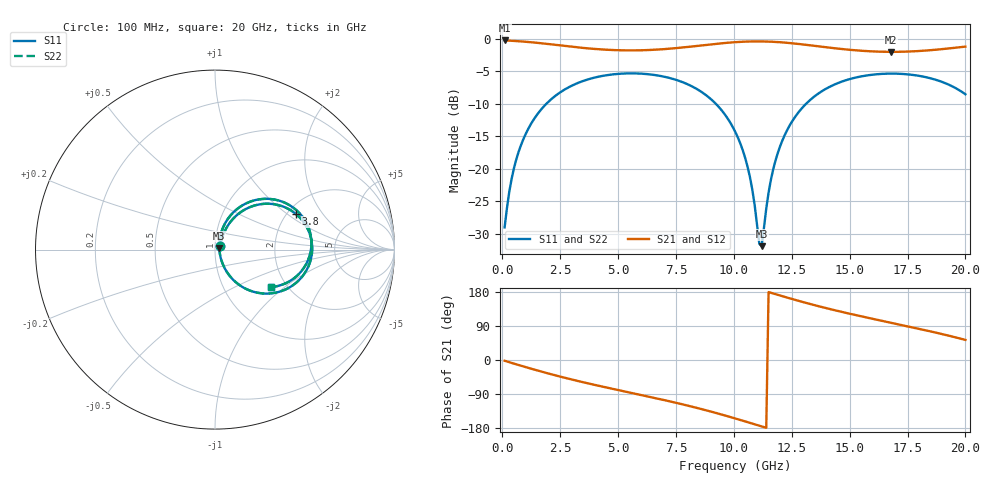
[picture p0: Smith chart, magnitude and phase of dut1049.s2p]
! Touchstone file exported from HFSS 2026.1.0
!  File:  C:/ffzhzh/LocalFiles/Ansys_Project_Files/temp_train_TSV_RDL_1049_1783296612_30076.aedt
!  Generated:  08:22:47 AM Jul  6, 2026
!  Design:  TSV_RDL
!  Project:  temp_train_TSV_RDL_1049_1783296612_30076
! Variables:
!  h_bsmrdl = 2.33um
!  h_ox = 20um
!  h_rdl = 5um
!  h_sub = 98.18um
!  h_tmrdl = 3.22um
!  h_tsv = 98.18um
!  h_via = 3um
!  l_bsmrdl = 928.11um
!  l_sub = 4996.84um
!  l_tmrdl = 422.64um
!  m_sub = 200um
!  pitch = 53.32um
!  r_tsv = 11.52um
!  s_tmrdl = 10um
!  w_bsmrdl = 24.29um
!  w_sub = 500um
!  w_tmrdl = 16.36um
!  x_tsv_center1 = 430.82um
!  x_tsv_center2 = 1383.22um
!  x_tsv_center3 = 1822.22um
!  x_tsv_center4 = 2774.62um
!  x_tsv_center5 = 3213.62um
!  x_tsv_center6 = 4166.02um
# GHz S MA R 50.000000
! Terminal data exported
! Port[1] = TM_RDL1_1_T1
! Port[2] = TM_RDL5_1_T1
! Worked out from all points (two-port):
!   200 points, 100 MHz to 20 GHz, reference 50 ohm
!   highest |S21| = -0.26 dB at 100 MHz (marker M1); lowest = -2.0 dB at 16.8 GHz (marker M2)
!   |S21| within 3 dB of the highest: start of sweep to end of sweep
!   lowest |S11| = -31.9 dB at 11.2 GHz (marker M3), VSWR 1.05, Z = 52.4 + j0.9 ohm
!   |S11| at or under -10 dB: start of sweep to 1.907 GHz; 9.218 GHz to 13.12 GHz (3.906 GHz wide, 35 % of centre)
!   |S22| runs from -31.8 to -5.3 dB; largest |S21 - S12| = 1.7e-14
!   S11 on the Smith chart (normalised r, x): 100 MHz: 1.06, +0.04; 3.8 GHz: 2.22, +1.16; 20 GHz: 1.65, -0.80
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0.1  0.03528 32.4  0.9707 -2.0  0.9707 -2.0  0.03528 32.4
! Gamma 0 0 0 0
! Port Impedance 50 0 50 0
0.5  0.1001 61.4  0.9629 -9.5  0.9629 -9.5  0.1001 61.4
1.1  0.1992 59.6  0.9456 -20.4  0.9456 -20.4  0.1992 59.6
2.1  0.3407 46.9  0.9064 -37.4  0.9064 -37.4  0.3407 46.9
3.5  0.4737 27.8  0.8501 -58.8  0.8501 -58.8  0.4738 27.8
3.8  0.4924 23.8  0.8405 -63.0  0.8405 -63.0  0.4925 23.8
5.3  0.5405 4.8  0.8141 -83.2  0.8141 -83.2  0.5405 4.8
6.8  0.5184 -14.2  0.8279 -103.1  0.8279 -103.1  0.5184 -14.2
8.8  0.3679 -41.7  0.8968 -132.7  0.8968 -132.7  0.3679 -41.7
10.1  0.1857 -59.7  0.9428 -155.0  0.9428 -155.0  0.1857 -59.6
10.7  0.08526 -61.4  0.9533 -165.9  0.9533 -165.9  0.08537 -61.1
11.1  0.02643 -18.7  0.9547 -173.4  0.9547 -173.4  0.02681 -18.4
11.2  0.02529 19.8  0.9542 -175.2  0.9542 -175.2  0.02569 19.6
11.5  0.06532 65.9  0.9512 179.2  0.9512 179.2  0.06549 65.6
11.9  0.1324 70.0  0.9431 171.9  0.9431 171.9  0.1324 69.8
12.5  0.2285 64.0  0.924 161.2  0.924 161.2  0.2286 63.9
13.4  0.3505 51.5  0.8861 146.1  0.8861 146.1  0.3505 51.4
14.8  0.477 32.2  0.829 125.0  0.829 125.0  0.477 32.1
16.7  0.5391 8.3  0.7932 99.5  0.7932 99.5  0.5392 8.3
16.8  0.5393 7.1  0.793 98.2  0.793 98.2  0.5394 7.0
18.3  0.5059 -11.5  0.8117 78.2  0.8117 78.2  0.5059 -11.6
20  0.3738 -34.0  0.8704 53.1  0.8704 53.1  0.3739 -34.1
